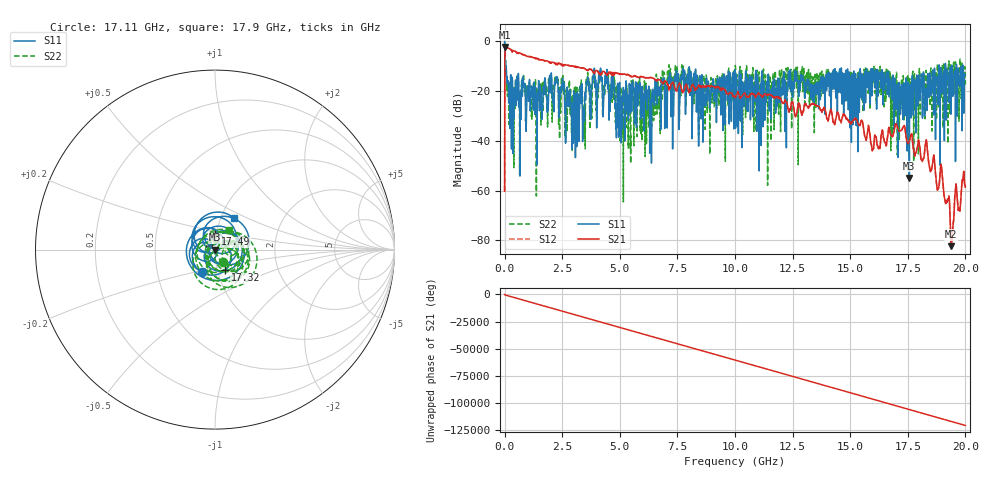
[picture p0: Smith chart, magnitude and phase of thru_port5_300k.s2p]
! MS46122B
! 2250307/22442219
! 2/13/2026 1:53:02 PM
! C:\USERS\SPARKY\DOCUMENTS\VNA_DATA\FEB13_2026\THRU_PORT5_300K.S2P
! CHANNEL.1
! TR.MEASUREMENT
! RAW.DATA
# GHZ S RI R 50.0
! FREQ.GHZ  S11RE  S11IM  S21RE  S21IM  S12RE  S12IM  S22RE  S22IM
!; PortSelection: Port_12
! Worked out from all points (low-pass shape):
!   10001 points, 1 MHz to 20 GHz, reference 50 ohm
!   highest |S21| = -2.25 dB at 33 MHz (marker M1); lowest = -82.4 dB at 19.39 GHz (marker M2)
!   |S21| within 3 dB of the highest: 8.985 MHz to 9.126 MHz (140.8 kHz wide, 1.55 % of centre); 19.18 MHz to 778.9 MHz (759.7 MHz wide, 190 % of centre)
!   lowest |S11| = -54.9 dB at 17.57 GHz (marker M3), VSWR 1.00, Z = 50.2 - j0.00527 ohm
!   |S11| at or under -10 dB: 72.97 MHz to 18.85 GHz (18.78 GHz wide, 198 % of centre); 19.15 GHz to 19.4 GHz (252.9 MHz wide, 1.31 % of centre); 19.62 GHz to 19.87 GHz (253.2 MHz wide, 1.28 % of centre) (the widest 3 of 7)
!   |S22| runs from -64.6 to -0.1 dB; largest |S21 - S12| = 0.057
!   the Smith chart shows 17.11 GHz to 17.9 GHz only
!   S11 on the Smith chart (normalised r, x): 17.11 GHz: 0.84, -0.21; 17.32 GHz: 1.09, -0.25; 17.49 GHz: 0.99, +0.17; 17.9 GHz: 1.16, +0.42
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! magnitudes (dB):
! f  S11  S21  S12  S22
! 1 MHz  0.4  -60.3  -60.4  -0.1
! 33 MHz  -8.4  -2.3  -2.5  -11.6
! 127 MHz  -15.9  -2.5  -2.5  -22.1
! 383 MHz  -27.1  -3.7  -3.6  -19.6
! 2.245 GHz  -15.8  -8.9  -8.8  -15.2
! 3.335 GHz  -19.3  -10.7  -10.7  -16.5
! 4.139 GHz  -13.8  -12.9  -12.9  -14.8
! 5.179 GHz  -21.8  -13.2  -13.1  -39.8
! 6.669 GHz  -19.7  -15.3  -15.3  -24.7
! 7.447 GHz  -12.7  -19.7  -19.5  -13.5
! 10 GHz  -12.2  -22.5  -22.6  -10.4
! 13.33 GHz  -17.3  -25.4  -25.1  -14.7
! 15.96 GHz  -12.9  -43.9  -44.0  -11.2
! 16.67 GHz  -13.0  -34.8  -34.9  -12.9
! 17.11 GHz  -17.0  -36.1  -36.1  -21.5
! 17.32 GHz  -17.8  -34.3  -34.2  -16.4
! 17.49 GHz  -21.4  -40.6  -40.6  -18.0
! 17.57 GHz  -54.9  -39.8  -39.7  -16.0
! 17.9 GHz  -13.8  -43.2  -43.0  -17.6
! 18.97 GHz  -15.0  -50.8  -50.8  -14.5
! 19.39 GHz  -12.6  -82.4  -81.5  -13.3
! 20 GHz  -13.4  -58.4  -59.0  -17.3
